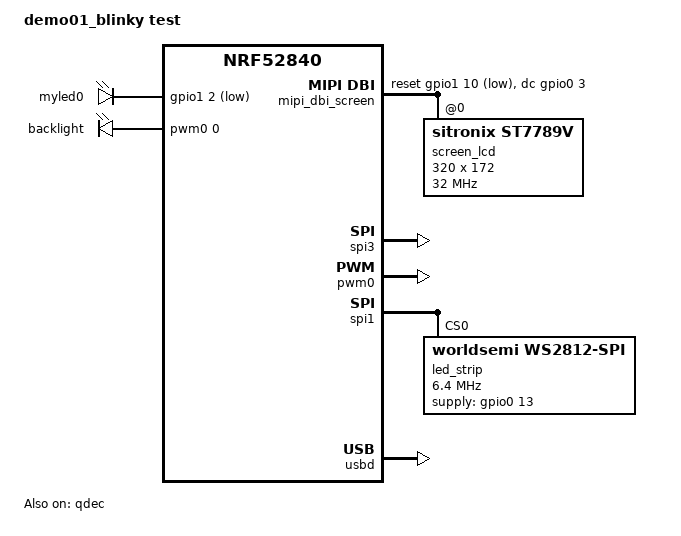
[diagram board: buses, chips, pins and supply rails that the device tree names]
/dts-v1/;
#include <nordic/nrf52840_qiaa.dtsi>
#include "demo01_blinky-pinctrl.dtsi"
#include <zephyr/dt-bindings/mipi_dbi/mipi_dbi.h>
#include <zephyr/dt-bindings/pwm/pwm.h>
#include <zephyr/dt-bindings/led/led.h>

/ {
	model = "demo01_blinky test";
	compatible = "atguigu,demo01-blinky";

	chosen {
		zephyr,sram = &sram0;
		zephyr,flash = &flash0;
		zephyr,code-partition = &slot0_partition;
		zephyr,display = &screen_lcd;
		zephyr,led-strip = &led_strip;
	};

	// LED
	aliases {
		led0 = &myled0;
		qdec0 = &qdec;
		backlight = &backlight;
		led-strip = &led_strip;
	};

	leds {
		compatible = "gpio-leds";

		// GPIO 1.02 拉低有效
		// myled0: label标签
		myled0: led_0 {
			gpios = <&gpio1 2 GPIO_ACTIVE_LOW>;
		};

  	};
		pwm_leds {
		compatible = "pwm-leds";
		status = "okay";

		backlight: pwm_led_0 {
			pwms = <&pwm0 0 PWM_MSEC(10)
				PWM_POLARITY_INVERTED>;
		};
	};

	mipi_dbi_screen: mipi_dbi_screen {
		compatible = "zephyr,mipi-dbi-spi";
		spi-dev = <&spi3>;
		dc-gpios = <&gpio0 3 GPIO_ACTIVE_HIGH>;
		reset-gpios = <&gpio1 10 GPIO_ACTIVE_LOW>;
		write-only;
		#address-cells = <1>;
		#size-cells = <0>;

		screen_lcd: st7789v@0 {
			compatible = "sitronix,st7789v";
			status = "okay";
			reg = <0>;
			mipi-max-frequency = <32000000>;

			width = <320>;
			height = <172>;
			x-offset = <0>;
			y-offset = <34>;

			vcom = <0x34>;
			gctrl = <0x00>;
			mdac = <0xA0>;
			gamma = <0x01>;
			colmod = <0x05>;
			lcm = <0x2c>;

			porch-param = [0c 0c 00 33 33];
			cmd2en-param = [5a 69 02 01];
			pwctrl1-param = [a4 a1];
			pvgam-param =
				[f0 04 08 0a 0a 05 25 33
				 3c 24 0e 0f 27 2f];
			nvgam-param =
				[f0 02 06 06 04 22 25 32
				 3b 3a 15 17 2d 37];
			ram-param = [00 f0];
			rgb-param = [cd 08 14];

			ready-time-ms = <120>;
			mipi-mode = "MIPI_DBI_MODE_SPI_4WIRE";
		};
	};
};

&flash0 {
	partitions {
		compatible = "fixed-partitions";
		#address-cells = <1>;
		#size-cells = <1>;

		boot_partition: partition@0 {
			label = "mcuboot";
			reg = <0x00000000 DT_SIZE_K(48)>;
		};

		slot0_partition: partition@c000 {
			label = "image-0";
			reg = <0x0000c000 DT_SIZE_K(472)>;
		};

		slot1_partition: partition@82000 {
			label = "image-1";
			reg = <0x00082000 DT_SIZE_K(472)>;
		};

		storage_partition: partition@f8000 {
			label = "storage";
			reg = <0x000f8000 DT_SIZE_K(32)>;
		};
	};
};
// 开启GPIO外设
&gpio1 {
	status = "okay";
};
// task event
&gpiote {
	status = "okay";
};
&qdec {
	status = "okay";

	pinctrl-0 = <&encoder_default>;
	pinctrl-1 = <&encoder_sleep>;
	pinctrl-names = "default", "sleep";

	led-pre = <0>;
	steps = <80>;
	nordic,period = "SAMPLEPER_1024US";
};
&uicr {
	nfct-pins-as-gpios;
};
/* 开启 P0.xx GPIO，用于键盘矩阵 */
&gpio0 {
	status = "okay";
};
&spi3 {
	status = "okay";
	pinctrl-0 = <&spi3_default>;
	pinctrl-1 = <&spi3_sleep>;
	pinctrl-names = "default", "sleep";
	cs-gpios = <&gpio0 2 GPIO_ACTIVE_LOW>;
};

&pwm0 {
	status = "okay";
	pinctrl-0 = <&pwm0_default>;
	pinctrl-1 = <&pwm0_sleep>;
	pinctrl-names = "default", "sleep";
};
&spi1 {
	status = "okay";

	pinctrl-0 = <&spi1_ws2812_default>;
	pinctrl-1 = <&spi1_ws2812_sleep>;
	pinctrl-names = "default", "sleep";

	led_strip: ws2812@0 {
		compatible = "worldsemi,ws2812-spi";
		status = "okay";
		reg = <0>;

		spi-max-frequency = <6400000>;
		chain-length = <17>;

		color-mapping = <LED_COLOR_ID_GREEN
				 LED_COLOR_ID_RED
				 LED_COLOR_ID_BLUE>;

		spi-one-frame = <0x70>;
		spi-zero-frame = <0x40>;
		bits-per-symbol = <8>;
		reset-delay = <8>;

		supply-gpios = <&gpio0 13 GPIO_ACTIVE_HIGH>;
	};
};
/* M5.2：USB CDC虚拟串口 */
&usbd {
	status = "okay";

	num-bidir-endpoints = <1>;
	num-in-endpoints = <7>;
	num-out-endpoints = <7>;
	num-isoin-endpoints = <0>;
	num-isoout-endpoints = <0>;

	cdc_acm_uart0: cdc_acm_uart0 {
		compatible = "zephyr,cdc-acm-uart";
		label = "CDC_ACM_0";
	};
};
